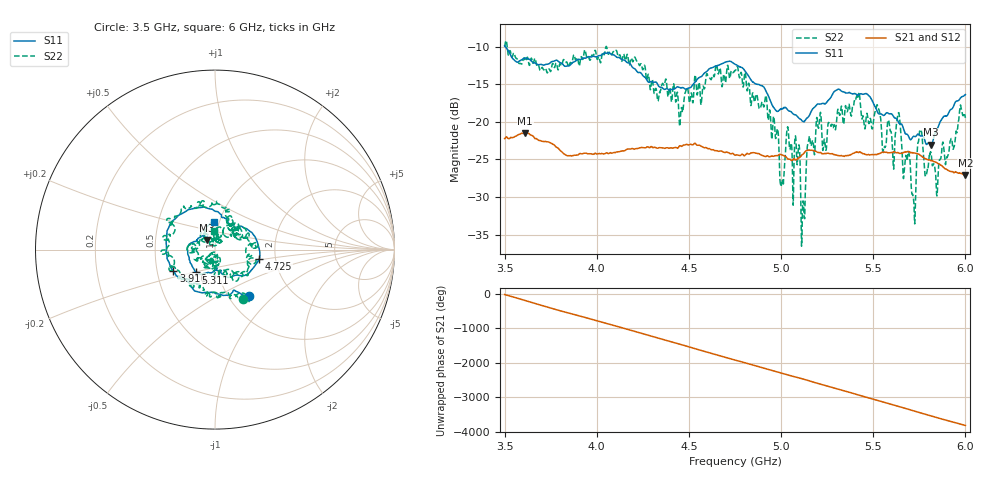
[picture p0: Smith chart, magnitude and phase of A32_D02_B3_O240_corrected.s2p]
! Created with skrf 1.9.0 (http://scikit-rf.org).
# Hz S RI R 50.0
!freq ReS11 ImS11 ReS21 ImS21 ReS12 ImS12 ReS22 ImS22
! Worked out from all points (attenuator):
!   1601 points, 3.5 GHz to 6 GHz, reference 50 ohm
!   highest |S21| = -21.47 dB at 3.611 GHz (marker M1); lowest = -27.1 dB at 6 GHz (marker M2)
!   lowest |S11| = -23.0 dB at 5.814 GHz (marker M3), VSWR 1.15, Z = 45.2 + j4.75 ohm
!   |S11| at or under -10 dB: 3.503 GHz to end of sweep
!   |S22| runs from -36.5 to -9.2 dB; largest |S21 - S12| = 0.00095
!   S11 on the Smith chart (normalised r, x): 3.5 GHz: 1.25, -0.71; 3.916 GHz: 0.61, -0.15; 4.725 GHz: 1.64, -0.18; 5.311 GHz: 0.79, -0.21; 6 GHz: 0.94, +0.29
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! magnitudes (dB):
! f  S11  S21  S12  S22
! 3.5 GHz  -9.9  -22.2  -22.2  -10.0
! 3.611 GHz  -11.5  -21.5  -21.5  -11.8
! 3.916 GHz  -11.7  -24.3  -24.2  -11.4
! 3.917 GHz  -11.6  -24.3  -24.2  -11.3
! 4.334 GHz  -15.2  -23.5  -23.4  -17.0
! 4.458 GHz  -15.5  -23.2  -23.2  -18.4
! 4.725 GHz  -12.0  -24.2  -24.2  -13.9
! 4.75 GHz  -12.3  -24.4  -24.4  -13.2
! 4.927 GHz  -16.3  -24.5  -24.5  -18.9
! 5.005 GHz  -18.2  -24.4  -24.4  -27.9
! 5.034 GHz  -18.4  -24.9  -24.8  -20.8
! 5.088 GHz  -19.3  -25.0  -24.9  -25.7
! 5.119 GHz  -19.9  -24.3  -24.2  -30.5
! 5.167 GHz  -18.4  -23.8  -23.7  -22.8
! 5.311 GHz  -15.7  -24.5  -24.4  -18.4
! 5.584 GHz  -18.9  -24.1  -24.1  -19.8
! 5.639 GHz  -20.1  -24.1  -24.1  -18.8
! 5.719 GHz  -21.9  -24.1  -24.1  -30.4
! 5.752 GHz  -21.8  -24.4  -24.3  -21.2
! 5.814 GHz  -23.0  -25.2  -25.1  -24.3
! 5.847 GHz  -21.0  -25.5  -25.4  -29.6
! 6 GHz  -16.4  -27.1  -27.0  -19.5
